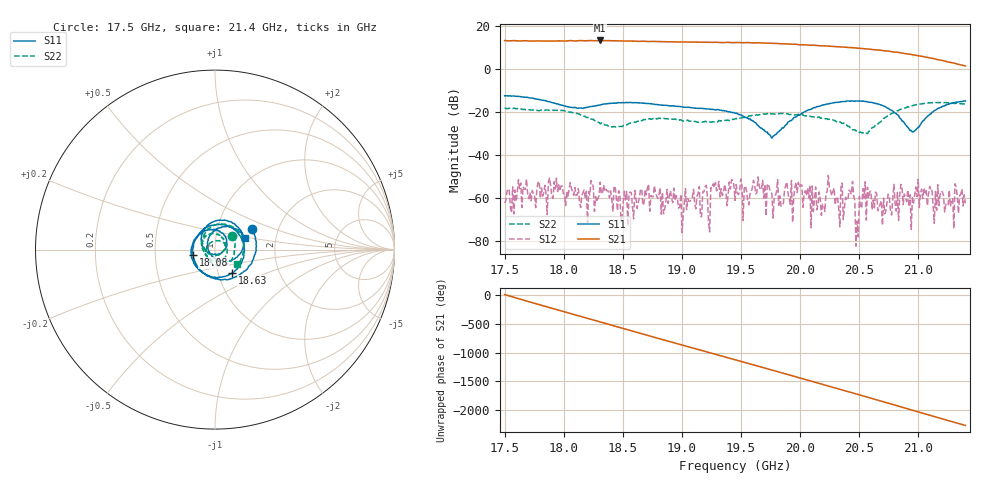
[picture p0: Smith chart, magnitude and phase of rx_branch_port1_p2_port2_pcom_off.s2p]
!Created with skrf (http://scikit-rf.org).
# GHz S RI R 50.0
!freq ReS11 ImS11 ReS21 ImS21 ReS12 ImS12 ReS22 ImS22
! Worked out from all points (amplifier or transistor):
!   401 points, 17.5 GHz to 21.4 GHz, reference 50 ohm
!   highest |S21| = 13.1 dB at 18.31 GHz (marker M1)
!   |S21| within 3 dB of that: start of sweep to 20.35 GHz
!   unconditionally stable (mu >= 1): start of sweep to end of sweep
!   at 18.14 GHz: K = 178.89, MAG = 13.2 dB, |S12| = -64.3 dB
!   at 19.45 GHz: K = 137.72, MAG = 12.2 dB, |S12| = -61.0 dB
!   at 21.4 GHz: K = 541.05, MAG = 1.5 dB, |S12| = -62.4 dB
!   S11 on the Smith chart (normalised r, x): 17.5 GHz: 1.46, +0.36; 18.08 GHz: 0.78, -0.05; 18.63 GHz: 1.17, -0.31; 21.4 GHz: 1.38, +0.18
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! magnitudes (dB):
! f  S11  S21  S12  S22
! 17.5 GHz  -12.5  13.1  -62.2  -18.3
! 18.08 GHz  -18.0  13.0  -57.1  -20.4
! 18.15 GHz  -18.3  13.0  -58.8  -21.6
! 18.31 GHz  -16.8  13.1  -52.5  -25.5
! 18.63 GHz  -15.8  12.7  -62.2  -24.3
! 18.81 GHz  -16.7  12.6  -58.3  -22.9
! 18.99 GHz  -17.6  12.4  -58.2  -23.7
! 19.24 GHz  -18.7  12.2  -75.6  -24.6
! 19.26 GHz  -18.9  12.2  -53.4  -24.5
! 19.45 GHz  -20.6  12.1  -61.0  -23.3
! 19.77 GHz  -31.3  11.8  -69.3  -20.9
! 19.99 GHz  -21.5  11.2  -52.7  -21.2
! 20.1 GHz  -18.5  10.9  -54.3  -22.3
! 20.19 GHz  -16.9  10.7  -62.8  -22.9
! 20.24 GHz  -16.3  10.5  -49.5  -23.5
! 20.39 GHz  -15.2  10.0  -59.6  -26.2
! 20.43 GHz  -14.9  9.8  -58.3  -27.5
! 20.49 GHz  -15.0  9.5  -77.9  -28.9
! 20.55 GHz  -15.2  9.2  -52.4  -30.2
! 20.76 GHz  -18.7  8.1  -59.4  -21.6
! 20.95 GHz  -29.3  6.5  -59.8  -17.2
! 21.4 GHz  -15.0  1.3  -62.4  -16.6
